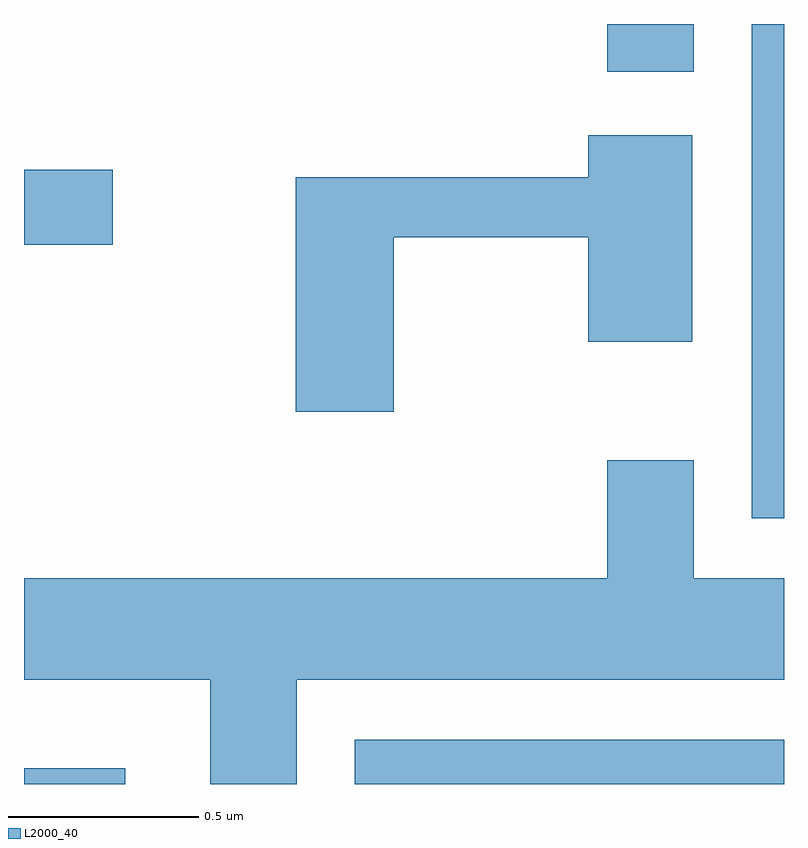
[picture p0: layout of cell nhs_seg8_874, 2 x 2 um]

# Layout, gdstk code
import gdstk
lib = gdstk.Library(unit=1e-6, precision=1e-09)
def R(c, l, rs):  # rectangles x0, y0, x1, y1
    for r in rs: c.add(gdstk.rectangle(r[:2], r[2:], *l))
def P(c, l, *ps):  # polygons
    for p in ps: c.add(gdstk.Polygon(p, *l))
L2000_40 = (2000, 40)

nhs_seg8_874 = lib.new_cell('nhs_seg8_874')
R(nhs_seg8_874, L2000_40, [(191.611,1858.342,191.878,1858.384), (192.481,1858.342,193.611,1858.459), (193.526,1859.041,193.611,1860.342), (191.611,1859.761,191.844,1859.959), (193.146,1860.216,193.374,1860.342)])
P(nhs_seg8_874, L2000_40, [(192.584,1859.781),(193.096,1859.781),(193.096,1859.506),(193.369,1859.506),(193.369,1860.049),(193.096,1860.049),(193.096,1859.939),(192.326,1859.939),(192.326,1859.321),(192.584,1859.321)],
  [(192.329,1858.616),(193.611,1858.616),(193.611,1858.884),(193.374,1858.884),(193.374,1859.194),(193.146,1859.194),(193.146,1858.884),(191.611,1858.884),(191.611,1858.616),(192.101,1858.616),(192.101,1858.342),(192.329,1858.342)])

lib.write_gds('nhs_seg8_874.gds')
